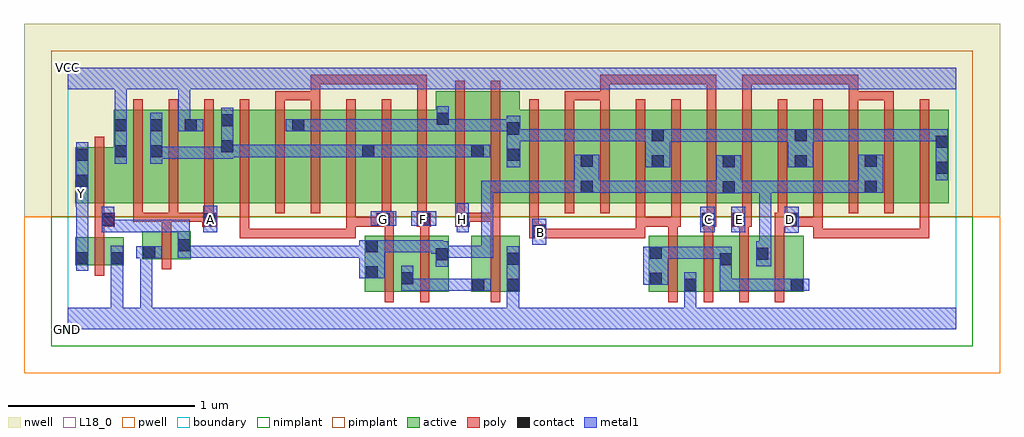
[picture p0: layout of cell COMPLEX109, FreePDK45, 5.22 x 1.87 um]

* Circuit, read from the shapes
.subckt COMPLEX109 A B C D E F G GND H VCC Y
M1 GND n1 Y VSUBS nfet w=0.15u l=0.05u
M2 n1 A GND VSUBS nfet w=0.15u l=0.05u
M3 n2 G n1 VSUBS nfet w=0.3u l=0.05u
M4 n1 F n2 VSUBS nfet w=0.3u l=0.05u
M5 GND H n2 VSUBS nfet w=0.3u l=0.05u
M6 GND B n3 VSUBS nfet w=0.3u l=0.05u
M7 n3 C GND VSUBS nfet w=0.3u l=0.05u
M8 n1 E n3 VSUBS nfet w=0.3u l=0.05u
M9 n3 D n1 VSUBS nfet w=0.3u l=0.05u
M10 VCC n1 Y n4 pfet w=0.3u l=0.05u
M11 n5 A VCC n4 pfet w=0.5u l=0.05u m=3
M12 n6 G n5 n4 pfet w=0.5u l=0.05u
M13 n7 F n6 n4 pfet w=0.5u l=0.05u
M14 n8 F n7 n4 pfet w=0.5u l=0.05u
M15 n5 G n8 n4 pfet w=0.5u l=0.05u
M16 n9 G n5 n4 pfet w=0.5u l=0.05u
M17 n7 F n9 n4 pfet w=0.5u l=0.05u
M18 n5 H n7 n4 pfet w=0.6u l=0.05u m=2
M19 n10 B n7 n4 pfet w=0.5u l=0.05u
M20 n1 C n10 n4 pfet w=0.5u l=0.05u
M21 n11 C n1 n4 pfet w=0.5u l=0.05u
M22 n7 B n11 n4 pfet w=0.5u l=0.05u
M23 n12 B n7 n4 pfet w=0.5u l=0.05u
M24 n1 C n12 n4 pfet w=0.5u l=0.05u
M25 n13 E n1 n4 pfet w=0.5u l=0.05u
M26 n7 D n13 n4 pfet w=0.5u l=0.05u
M27 n14 D n7 n4 pfet w=0.5u l=0.05u
M28 n1 E n14 n4 pfet w=0.5u l=0.05u
M29 n15 E n1 n4 pfet w=0.5u l=0.05u
M30 n7 D n15 n4 pfet w=0.5u l=0.05u
.ends

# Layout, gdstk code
import gdstk
lib = gdstk.Library(unit=1e-6, precision=1e-09)
def R(c, l, rs):  # rectangles x0, y0, x1, y1
    for r in rs: c.add(gdstk.rectangle(r[:2], r[2:], *l))
def A(c, l, x, y, w, h, nx, ny, dx, dy):  # array of equal rectangles
    R(c, l, [(x+i*dx, y+j*dy, x+i*dx+w, y+j*dy+h) for i in range(nx) for j in range(ny)])
active = (1, 0)
pwell = (2, 0)
nwell = (3, 0)
nimplant = (4, 0)
pimplant = (5, 0)
poly = (9, 0)
contact = (10, 0)
metal1 = (11, 0)
L18_0 = (18, 0)
boundary = (235, 0)

complex109 = lib.new_cell('COMPLEX109')
A(complex109, active, 0.435, 0.675, 0.075, 0.482, 3, 1, 0.38, 0)
A(complex109, active, 1.57, 0.675, 0.075, 0.395, 3, 1, 0.585, 0)
A(complex109, active, 2.59, 0.675, 0.225, 0.5, 3, 1, 0.38, 0)
A(complex109, active, 2.74, 0.675, 0.23, 0.5, 3, 1, 0.38, 0)
R(complex109, active, [(1.59,0.2,1.855,0.5), (1.78,0.2,2.04,0.5), (1.78,0.2,1.855,0.392), (2.16,0.2,2.235,0.5), (2.16,0.2,2.42,0.5), (2.345,0.2,2.42,0.5), (3.11,0.2,3.185,0.5), (3.11,0.2,3.37,0.5), (3.295,0.2,3.56,0.5), (3.295,0.2,3.37,0.392), (3.485,0.2,3.755,0.5), (3.485,0.2,3.56,0.412), (3.68,0.2,3.94,0.5), (3.865,0.2,3.94,0.5), (1.59,0.207,1.665,0.5), (1.965,0.247,2.04,0.5), (3.68,0.247,3.755,0.442), (0.04,0.342,0.3,0.492), (0.04,0.342,0.115,0.492), (0.225,0.342,0.3,0.492), (0.397,0.375,0.657,0.525), (0.397,0.375,0.472,0.525), (0.582,0.397,0.657,0.525), (0.04,0.675,0.115,0.975), (0.04,0.675,0.32,0.975), (0.245,0.675,0.32,1.175), (0.245,0.675,0.51,1.175), (0.435,0.675,0.695,1.175), (0.62,0.675,0.695,1.175), (0.62,0.675,0.89,1.175), (0.815,0.675,1.04,1.175), (1.04,0.675,1.27,1.175), (1.195,0.675,1.42,1.175), (1.42,0.675,1.645,1.175), (1.57,0.675,1.8,1.175), (1.8,0.675,2.045,1.175), (1.97,0.675,2.23,1.275), (2.155,0.675,2.42,1.275), (2.345,0.675,2.59,1.175), (3.12,0.675,3.195,1.175), (3.5,0.675,3.575,1.07), (3.73,0.675,3.96,1.175), (3.885,0.675,4.11,1.175), (4.11,0.675,4.335,1.175), (4.26,0.675,4.49,1.175), (4.26,0.675,4.335,1.07), (4.49,0.675,4.715,1.175), (4.64,0.675,4.715,1.157), (3.885,0.682,3.96,1.175), (1.97,0.722,2.045,1.2), (2.345,0.807,2.42,1.2)])
R(complex109, pwell, [(-0.235,-0.235,4.99,0.602)])
R(complex109, nwell, [(-0.235,0.602,4.99,1.635)])
R(complex109, nimplant, [(-0.09,-0.09,4.845,0.602)])
R(complex109, pimplant, [(-0.09,0.602,4.845,1.49)])
A(complex109, poly, 3.215, 0.145, 0.05, 0.41, 4, 1, 0.19, 0)
A(complex109, poly, 3.215, 0.505, 0.05, 0.095, 4, 1, 0.19, 0)
A(complex109, poly, 0.35, 0.575, 0.05, 0.095, 3, 1, 0.19, 0)
A(complex109, poly, 3.42, 0.575, 0.05, 0.095, 3, 1, 0.19, 0)
A(complex109, poly, 0.35, 0.62, 0.05, 0.61, 9, 1, 0.19, 0)
A(complex109, poly, 2.47, 0.62, 0.05, 0.61, 12, 1, 0.19, 0)
R(complex109, poly, [(1.695,0.145,1.745,0.555), (1.885,0.145,1.935,0.555), (2.265,0.145,2.315,0.555), (0.145,0.287,0.195,0.547), (0.502,0.32,0.552,0.58), (0.92,0.487,0.97,0.67), (0.92,0.487,0.97,0.537), (0.92,0.487,0.97,0.537), (0.92,0.487,0.97,0.537), (0.92,0.487,1.102,0.537), (1.052,0.487,1.102,0.537), (1.052,0.487,1.102,0.537), (1.052,0.487,1.102,0.537), (1.052,0.487,1.407,0.537), (1.357,0.487,1.407,0.537), (1.357,0.487,1.407,0.537), (1.357,0.487,1.407,0.537), (1.357,0.487,1.54,0.537), (1.49,0.487,1.54,0.6), (2.47,0.487,2.557,0.562), (2.507,0.487,2.557,0.537), (2.507,0.487,2.557,0.537), (2.507,0.487,2.69,0.537), (2.64,0.487,2.69,0.537), (2.64,0.487,2.937,0.537), (2.887,0.487,2.937,0.537), (2.887,0.487,2.937,0.537), (2.887,0.487,2.937,0.537), (2.887,0.487,3.09,0.537), (3.04,0.487,3.09,0.6), (3.99,0.487,4.172,0.537), (3.99,0.487,4.04,0.6), (4.122,0.487,4.172,0.537), (4.122,0.487,4.172,0.537), (4.122,0.487,4.172,0.537), (4.122,0.487,4.362,0.537), (4.312,0.487,4.362,0.537), (4.312,0.487,4.362,0.537), (4.312,0.487,4.362,0.537), (4.312,0.487,4.61,0.537), (4.56,0.487,4.61,0.67), (4.56,0.487,4.61,0.537), (4.56,0.487,4.61,0.537), (4.56,0.487,4.61,0.537), (0.145,0.497,0.195,0.6), (1.695,0.505,1.745,0.6), (1.885,0.505,1.935,0.6), (2.265,0.505,2.315,0.625), (2.47,0.512,2.52,0.67), (0.502,0.53,0.552,0.625), (0.145,0.55,0.252,0.625), (0.72,0.55,0.795,0.625), (1.49,0.55,1.54,0.6), (1.49,0.55,1.54,0.6), (1.49,0.55,1.54,0.67), (1.49,0.55,1.702,0.6), (1.652,0.55,1.745,0.625), (1.867,0.55,1.942,0.625), (2.075,0.55,2.152,0.625), (3.04,0.55,3.09,0.6), (3.04,0.55,3.09,0.6), (3.04,0.55,3.09,0.67), (3.04,0.55,3.265,0.6), (3.215,0.55,3.265,0.6), (3.215,0.55,3.265,0.6), (3.215,0.55,3.28,0.6), (3.23,0.55,3.28,0.67), (3.392,0.55,3.47,0.625), (3.557,0.55,3.66,0.625), (3.785,0.55,3.907,0.625), (3.857,0.55,3.907,0.6), (3.857,0.55,3.907,0.6), (3.857,0.55,4.04,0.6), (3.99,0.55,4.04,0.67), (0.145,0.575,0.195,0.67), (0.35,0.575,0.4,0.625), (0.35,0.575,0.552,0.625), (0.502,0.575,0.552,0.625), (0.502,0.575,0.552,0.625), (0.502,0.575,0.59,0.625), (0.54,0.575,0.77,0.625), (0.72,0.575,0.77,0.625), (0.72,0.575,0.77,0.625), (1.68,0.575,1.73,0.67), (1.87,0.575,1.92,0.67), (2.075,0.575,2.125,0.67), (2.102,0.575,2.152,0.625), (2.102,0.575,2.152,0.625), (2.102,0.575,2.315,0.625), (2.265,0.575,2.315,0.625), (2.265,0.575,2.315,0.67), (0.145,0.62,0.195,1.03), (2.075,0.62,2.125,1.33), (2.265,0.62,2.315,1.33), (1.11,1.18,1.16,1.275), (1.3,1.18,1.35,1.275), (1.87,1.18,1.92,1.362), (2.66,1.18,2.71,1.275), (2.85,1.18,2.9,1.275), (3.42,1.18,3.47,1.362), (3.61,1.18,3.66,1.362), (4.18,1.18,4.23,1.275), (4.37,1.18,4.42,1.275), (1.11,1.225,1.16,1.275), (1.11,1.225,1.16,1.275), (1.11,1.225,1.16,1.275), (1.11,1.225,1.35,1.275), (1.3,1.225,1.35,1.362), (2.66,1.225,2.71,1.275), (2.66,1.225,2.71,1.275), (2.66,1.225,2.71,1.275), (2.66,1.225,2.9,1.275), (2.85,1.225,2.9,1.362), (4.18,1.225,4.42,1.275), (4.18,1.225,4.23,1.362), (4.37,1.225,4.42,1.275), (4.37,1.225,4.42,1.275), (4.37,1.225,4.42,1.275), (1.3,1.312,1.35,1.362), (1.3,1.312,1.35,1.362), (1.3,1.312,1.54,1.362), (1.49,1.312,1.54,1.362), (1.49,1.312,1.672,1.362), (1.622,1.312,1.672,1.362), (1.622,1.312,1.672,1.362), (1.622,1.312,1.672,1.362), (1.622,1.312,1.92,1.362), (1.87,1.312,1.92,1.362), (1.87,1.312,1.92,1.362), (1.87,1.312,1.92,1.362), (2.85,1.312,3.07,1.362), (3.02,1.312,3.07,1.362), (3.02,1.312,3.07,1.362), (3.02,1.312,3.07,1.362), (3.02,1.312,3.31,1.362), (3.26,1.312,3.31,1.362), (3.26,1.312,3.31,1.362), (3.26,1.312,3.31,1.362), (3.26,1.312,3.47,1.362), (3.42,1.312,3.47,1.362), (3.42,1.312,3.47,1.362), (3.42,1.312,3.47,1.362), (3.61,1.312,3.66,1.362), (3.61,1.312,3.66,1.362), (3.61,1.312,3.66,1.362), (3.61,1.312,3.792,1.362), (3.742,1.312,3.792,1.362), (3.742,1.312,4.04,1.362), (3.99,1.312,4.04,1.362), (3.99,1.312,4.04,1.362), (3.99,1.312,4.04,1.362), (3.99,1.312,4.23,1.362), (4.18,1.312,4.23,1.362), (4.18,1.312,4.23,1.362)])
R(complex109, contact, [(2.165,0.205,2.23,0.27), (2.35,0.205,2.415,0.27), (3.3,0.205,3.365,0.27), (3.87,0.205,3.935,0.27), (3.115,0.237,3.18,0.302), (1.785,0.24,1.85,0.305), (1.595,0.272,1.66,0.337), (3.49,0.342,3.555,0.407), (2.35,0.345,2.415,0.41), (0.045,0.347,0.11,0.412), (0.23,0.347,0.295,0.412), (1.97,0.37,2.035,0.435), (3.685,0.372,3.75,0.437), (3.115,0.377,3.18,0.442), (0.402,0.38,0.467,0.445), (1.595,0.412,1.66,0.477), (0.587,0.417,0.652,0.482), (2.487,0.492,2.552,0.557), (0.182,0.555,0.247,0.62), (0.725,0.555,0.79,0.62), (1.657,0.555,1.722,0.62), (1.872,0.555,1.937,0.62), (2.082,0.555,2.147,0.62), (3.397,0.555,3.462,0.62), (3.562,0.555,3.627,0.62), (3.837,0.555,3.902,0.62), (3.505,0.727,3.57,0.792), (2.745,0.73,2.81,0.795), (4.265,0.73,4.33,0.795), (0.045,0.762,0.11,0.827), (4.645,0.832,4.71,0.897), (3.125,0.867,3.19,0.932), (3.505,0.867,3.57,0.932), (3.89,0.867,3.955,0.932), (2.745,0.87,2.81,0.935), (4.265,0.87,4.33,0.935), (0.045,0.902,0.11,0.967), (2.35,0.902,2.415,0.967), (0.25,0.92,0.315,0.985), (0.44,0.92,0.505,0.985), (1.575,0.922,1.64,0.987), (2.16,0.922,2.225,0.987), (0.82,0.947,0.885,1.012), (4.645,0.972,4.71,1.037), (3.125,1.007,3.19,1.072), (3.89,1.007,3.955,1.072), (2.35,1.042,2.415,1.107), (0.25,1.06,0.315,1.125), (0.44,1.06,0.505,1.125), (0.625,1.06,0.69,1.125), (1.2,1.06,1.265,1.125), (0.82,1.087,0.885,1.152), (1.975,1.095,2.04,1.16)])
R(complex109, metal1, [(0,0,4.755,0.115), (0.23,0.05,0.295,0.377), (0.387,0.05,0.452,0.115), (0.387,0.05,0.452,0.115), (0.387,0.05,0.452,0.445), (2.35,0.05,2.415,0.115), (2.35,0.05,2.415,0.115), (2.35,0.05,2.415,0.235), (3.3,0.05,3.365,0.115), (3.3,0.05,3.365,0.115), (3.3,0.05,3.365,0.235), (2.35,0.17,2.415,0.445), (3.3,0.17,3.365,0.305), (1.785,0.205,1.85,0.27), (1.785,0.205,1.85,0.27), (1.785,0.205,1.85,0.34), (1.785,0.205,2.052,0.27), (1.987,0.205,2.052,0.27), (1.987,0.205,2.147,0.27), (2.082,0.205,2.147,0.27), (2.082,0.205,2.195,0.27), (2.13,0.205,2.265,0.27), (3.49,0.205,3.742,0.27), (3.49,0.205,3.555,0.372), (3.677,0.205,3.742,0.27), (3.677,0.205,3.9,0.27), (3.835,0.205,3.9,0.27), (3.835,0.205,3.9,0.27), (3.835,0.205,3.97,0.27), (3.08,0.237,3.215,0.442), (1.56,0.272,1.695,0.477), (3.49,0.307,3.555,0.372), (3.49,0.307,3.555,0.442), (0.045,0.312,0.11,0.447), (0.23,0.312,0.295,0.377), (0.23,0.312,0.295,0.377), (0.23,0.312,0.295,0.377), (0.23,0.312,0.295,0.377), (0.23,0.312,0.295,0.447), (1.97,0.335,2.035,0.47), (3.685,0.337,3.765,0.472), (3.15,0.377,3.215,0.442), (3.15,0.377,3.215,0.442), (3.15,0.377,3.397,0.442), (3.332,0.377,3.397,0.442), (3.332,0.377,3.397,0.442), (3.332,0.377,3.397,0.442), (3.332,0.377,3.555,0.442), (0.367,0.38,0.502,0.445), (0.387,0.38,0.452,0.445), (0.387,0.38,0.452,0.445), (0.045,0.382,0.11,0.722), (0.587,0.382,0.79,0.447), (0.587,0.382,0.652,0.532), (0.725,0.382,0.79,0.447), (0.725,0.382,0.79,0.447), (0.725,0.382,0.79,0.447), (0.725,0.382,1.022,0.447), (0.957,0.382,1.022,0.447), (0.957,0.382,1.022,0.447), (0.957,0.382,1.022,0.447), (0.957,0.382,1.16,0.447), (1.095,0.382,1.16,0.447), (1.095,0.382,1.33,0.447), (1.265,0.382,1.33,0.447), (1.265,0.382,1.33,0.447), (1.265,0.382,1.33,0.447), (1.265,0.382,1.467,0.447), (1.402,0.382,1.467,0.447), (1.402,0.382,1.467,0.447), (1.402,0.382,1.467,0.447), (1.402,0.382,1.625,0.447), (1.97,0.382,2.147,0.447), (2.082,0.382,2.147,0.447), (2.082,0.382,2.277,0.447), (2.212,0.382,2.277,0.447), (2.212,0.382,2.277,0.795), (1.945,0.405,2.035,0.47), (1.945,0.405,2.01,0.477), (3.7,0.407,3.765,0.795), (1.63,0.412,1.695,0.477), (1.63,0.412,1.695,0.477), (1.63,0.412,1.872,0.477), (1.807,0.412,1.872,0.477), (1.807,0.412,2.01,0.477), (2.487,0.452,2.562,0.592), (0.587,0.467,0.652,0.532), (0.587,0.467,0.652,0.585), (3.837,0.517,3.912,0.657), (0.182,0.52,0.247,0.585), (0.182,0.52,0.247,0.585), (0.182,0.52,0.247,0.585), (0.182,0.52,0.247,0.585), (0.182,0.52,0.247,0.655), (0.182,0.52,0.505,0.585), (0.44,0.52,0.505,0.585), (0.44,0.52,0.505,0.585), (0.44,0.52,0.505,0.585), (0.44,0.52,0.652,0.585), (0.725,0.52,0.8,0.66), (2.082,0.52,2.147,0.675), (3.385,0.52,3.462,0.657), (3.55,0.52,3.627,0.657), (1.622,0.555,1.757,0.632), (1.837,0.555,1.972,0.632), (0.042,0.657,0.11,0.792), (0.045,0.727,0.11,0.792), (0.045,0.727,0.11,1.002), (3.47,0.727,3.605,0.932), (2.212,0.73,2.277,0.795), (2.212,0.73,2.285,0.795), (2.22,0.73,2.285,0.795), (2.22,0.73,2.415,0.795), (2.35,0.73,2.415,0.795), (2.35,0.73,2.415,0.795), (2.35,0.73,2.422,0.795), (2.357,0.73,2.422,0.795), (2.357,0.73,2.422,0.795), (2.357,0.73,2.637,0.795), (2.572,0.73,2.637,0.795), (2.572,0.73,2.637,0.795), (2.572,0.73,2.637,0.795), (2.572,0.73,2.775,0.795), (2.71,0.73,2.845,0.935), (2.78,0.73,2.845,0.795), (2.78,0.73,2.845,0.795), (2.78,0.73,2.982,0.795), (2.917,0.73,2.982,0.795), (2.917,0.73,2.982,0.795), (2.917,0.73,2.982,0.795), (2.917,0.73,3.227,0.795), (3.162,0.73,3.227,0.795), (3.162,0.73,3.227,0.795), (3.162,0.73,3.227,0.795), (3.162,0.73,3.365,0.795), (3.3,0.73,3.365,0.795), (3.3,0.73,3.365,0.795), (3.3,0.73,3.365,0.795), (3.3,0.73,3.535,0.795), (3.54,0.73,3.605,0.795), (3.54,0.73,3.605,0.795), (3.54,0.73,3.765,0.795), (3.7,0.73,3.765,0.795), (3.7,0.73,3.765,0.795), (3.7,0.73,3.765,0.795), (3.7,0.73,3.765,0.795), (3.7,0.73,3.765,0.795), (3.7,0.73,3.902,0.795), (3.837,0.73,3.902,0.795), (3.837,0.73,4.157,0.795), (4.092,0.73,4.157,0.795), (4.092,0.73,4.157,0.795), (4.092,0.73,4.157,0.795), (4.092,0.73,4.295,0.795), (4.23,0.73,4.295,0.795), (4.23,0.73,4.295,0.795), (4.23,0.73,4.365,0.935), (4.645,0.797,4.71,1.072), (2.35,0.867,2.422,1.142), (3.09,0.867,3.225,1.072), (3.855,0.867,3.99,1.072), (0.25,0.885,0.315,1.16), (0.44,0.885,0.505,1.16), (0.44,0.912,0.642,0.977), (0.577,0.912,0.642,0.977), (0.577,0.912,0.642,0.977), (0.577,0.912,0.642,0.977), (0.577,0.912,0.885,0.977), (0.82,0.912,0.885,0.977), (0.82,0.912,0.885,0.977), (0.82,0.912,0.885,1.187), (0.82,0.922,1.022,0.987), (0.957,0.922,1.022,0.987), (0.957,0.922,1.022,0.987), (0.957,0.922,1.022,0.987), (0.957,0.922,1.16,0.987), (1.095,0.922,1.16,0.987), (1.095,0.922,1.16,0.987), (1.095,0.922,1.16,0.987), (1.095,0.922,1.297,0.987), (1.232,0.922,1.297,0.987), (1.232,0.922,1.467,0.987), (1.402,0.922,1.467,0.987), (1.402,0.922,1.467,0.987), (1.402,0.922,1.467,0.987), (1.402,0.922,1.605,0.987), (1.54,0.922,1.675,0.987), (1.61,0.922,1.675,0.987), (1.61,0.922,1.675,0.987), (1.61,0.922,1.832,0.987), (1.767,0.922,1.832,0.987), (1.767,0.922,1.832,0.987), (1.767,0.922,1.832,0.987), (1.767,0.922,2.01,0.987), (1.945,0.922,2.01,0.987), (1.945,0.922,2.147,0.987), (2.082,0.922,2.147,0.987), (2.082,0.922,2.19,0.987), (2.125,0.922,2.26,0.987), (3.16,1.005,3.225,1.07), (3.16,1.005,3.225,1.07), (3.16,1.005,3.397,1.07), (3.332,1.005,3.397,1.07), (3.332,1.005,3.397,1.07), (3.332,1.005,3.397,1.07), (3.332,1.005,3.535,1.07), (3.47,1.005,3.535,1.07), (3.47,1.005,3.535,1.07), (3.47,1.005,3.535,1.07), (3.47,1.005,3.762,1.07), (3.697,1.005,3.762,1.07), (3.697,1.005,3.92,1.07), (3.855,1.005,3.92,1.07), (3.855,1.005,3.92,1.07), (2.357,1.007,2.422,1.072), (2.357,1.007,2.422,1.072), (2.357,1.007,2.637,1.072), (2.572,1.007,2.637,1.072), (2.572,1.007,2.637,1.072), (2.572,1.007,2.637,1.072), (2.572,1.007,2.845,1.072), (2.78,1.007,2.845,1.072), (2.78,1.007,2.845,1.072), (2.78,1.007,2.845,1.072), (2.78,1.007,2.982,1.072), (2.917,1.007,2.982,1.072), (2.917,1.007,2.982,1.072), (2.917,1.007,2.982,1.072), (2.917,1.007,3.155,1.072), (3.925,1.007,4.157,1.072), (4.092,1.007,4.157,1.072), (4.092,1.007,4.157,1.072), (4.092,1.007,4.157,1.072), (4.092,1.007,4.295,1.072), (4.23,1.007,4.295,1.072), (4.23,1.007,4.295,1.072), (4.23,1.007,4.295,1.072), (4.23,1.007,4.572,1.072), (4.507,1.007,4.572,1.072), (4.507,1.007,4.572,1.072), (4.507,1.007,4.572,1.072), (4.507,1.007,4.71,1.072), (4.645,1.007,4.71,1.072), (4.645,1.007,4.71,1.072), (0.59,1.06,0.725,1.125), (0.59,1.06,0.655,1.35), (1.165,1.06,1.3,1.125), (1.235,1.06,1.3,1.125), (1.235,1.06,1.3,1.125), (1.235,1.06,1.467,1.125), (1.402,1.06,1.467,1.125), (1.402,1.06,1.467,1.125), (1.402,1.06,1.467,1.125), (1.402,1.06,1.695,1.125), (1.63,1.06,1.695,1.125), (1.63,1.06,1.695,1.125), (1.63,1.06,1.695,1.125), (1.63,1.06,1.832,1.125), (1.767,1.06,1.832,1.125), (1.767,1.06,1.832,1.125), (1.767,1.06,1.832,1.125), (1.767,1.06,2.04,1.125), (1.975,1.06,2.04,1.195), (1.975,1.06,2.147,1.125), (2.082,1.06,2.147,1.125), (2.082,1.06,2.277,1.125), (2.212,1.06,2.277,1.125), (2.212,1.06,2.285,1.125), (2.22,1.06,2.285,1.125), (2.22,1.06,2.415,1.125), (0.25,1.095,0.315,1.16), (0.25,1.095,0.315,1.16), (0.25,1.095,0.315,1.35), (0,1.285,4.755,1.4), (0.59,1.285,0.655,1.35), (0.59,1.285,0.655,1.35)])
R(complex109, L18_0, [(0,0,4.755,0.115), (0.23,0.05,0.295,0.377), (0.387,0.05,0.452,0.115), (0.387,0.05,0.452,0.115), (0.387,0.05,0.452,0.445), (2.35,0.05,2.415,0.115), (2.35,0.05,2.415,0.115), (2.35,0.05,2.415,0.235), (3.3,0.05,3.365,0.115), (3.3,0.05,3.365,0.115), (3.3,0.05,3.365,0.235), (2.35,0.17,2.415,0.445), (3.3,0.17,3.365,0.305), (0.045,0.312,0.11,0.447), (0.23,0.312,0.295,0.447), (0.23,0.312,0.295,0.377), (0.23,0.312,0.295,0.377), (0.23,0.312,0.295,0.377), (0.23,0.312,0.295,0.377), (0.367,0.38,0.502,0.445), (0.387,0.38,0.452,0.445), (0.387,0.38,0.452,0.445), (0.045,0.382,0.11,0.722), (2.487,0.452,2.562,0.592), (2.497,0.487,2.562,0.552), (3.837,0.517,3.912,0.657), (0.725,0.52,0.8,0.66), (2.082,0.52,2.147,0.675), (3.385,0.52,3.462,0.657), (3.55,0.52,3.627,0.657), (3.837,0.552,3.902,0.617), (1.622,0.555,1.757,0.632), (1.837,0.555,1.972,0.632), (0.732,0.557,0.797,0.622), (1.657,0.557,1.722,0.622), (1.872,0.557,1.937,0.622), (2.082,0.557,2.147,0.622), (3.397,0.557,3.462,0.622), (3.562,0.557,3.627,0.622), (0.042,0.657,0.11,0.792), (0.042,0.692,0.107,0.757), (0.045,0.727,0.11,1.002), (0.045,0.727,0.11,0.792), (0.25,0.885,0.315,1.16), (0.59,1.06,0.725,1.125), (0.59,1.06,0.655,1.35), (0.25,1.095,0.315,1.16), (0.25,1.095,0.315,1.16), (0.25,1.095,0.315,1.35), (0,1.285,4.755,1.4), (0.59,1.285,0.655,1.35), (0.59,1.285,0.655,1.35)])
R(complex109, boundary, [(0,0,4.755,1.4)])
complex109.add(gdstk.Label('A', (0.765,0.59), layer=11, texttype=0))
complex109.add(gdstk.Label('B', (2.53,0.52), layer=11, texttype=0))
complex109.add(gdstk.Label('C', (3.43,0.59), layer=11, texttype=0))
complex109.add(gdstk.Label('D', (3.87,0.585), layer=11, texttype=0))
complex109.add(gdstk.Label('E', (3.595,0.59), layer=11, texttype=0))
complex109.add(gdstk.Label('F', (1.905,0.59), layer=11, texttype=0))
complex109.add(gdstk.Label('G', (1.69,0.59), layer=11, texttype=0))
complex109.add(gdstk.Label('H', (2.115,0.59), layer=11, texttype=0))
complex109.add(gdstk.Label('Y', (0.075,0.725), layer=11, texttype=0))
complex109.add(gdstk.Label('VCC', (0,1.4), layer=11, texttype=0))
complex109.add(gdstk.Label('GND', (0,0), layer=11, texttype=0))

lib.write_gds('COMPLEX109.gds')
